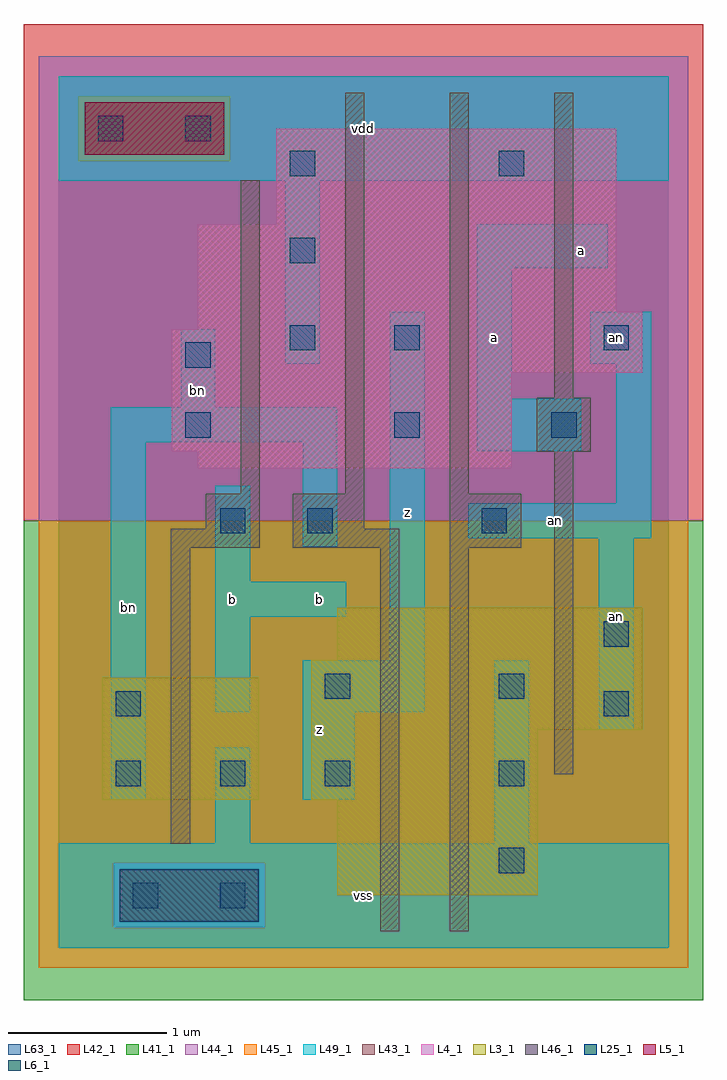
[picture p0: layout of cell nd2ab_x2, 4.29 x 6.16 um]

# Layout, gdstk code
import gdstk
lib = gdstk.Library(unit=1e-6, precision=1e-09)
def R(c, l, rs):  # rectangles x0, y0, x1, y1
    for r in rs: c.add(gdstk.rectangle(r[:2], r[2:], *l))
def A(c, l, x, y, w, h, nx, ny, dx, dy):  # array of equal rectangles
    R(c, l, [(x+i*dx, y+j*dy, x+i*dx+w, y+j*dy+h) for i in range(nx) for j in range(ny)])
L3_1 = (3, 1)
L4_1 = (4, 1)
L5_1 = (5, 1)
L6_1 = (6, 1)
L25_1 = (25, 1)
L41_1 = (41, 1)
L42_1 = (42, 1)
L43_1 = (43, 1)
L44_1 = (44, 1)
L45_1 = (45, 1)
L46_1 = (46, 1)
L49_1 = (49, 1)
L63_1 = (63, 1)

nd2ab_x2 = lib.new_cell('nd2ab_x2')
R(nd2ab_x2, L3_1, [(1.76,0.33,3.025,0.935), (0.275,0.935,1.265,1.705), (1.595,0.935,3.025,1.375), (1.595,1.375,3.685,1.815), (1.76,1.815,3.685,2.145)])
R(nd2ab_x2, L4_1, [(0.88,3.025,2.86,3.135), (0.715,3.135,2.86,3.63), (0.715,3.63,3.685,3.905), (0.88,3.905,3.685,4.015), (0.88,4.015,3.52,4.565), (1.375,4.565,3.52,5.17)])
R(nd2ab_x2, L5_1, [(0.165,5.005,1.045,5.335)])
R(nd2ab_x2, L6_1, [(0.385,0.165,1.265,0.495)])
A(nd2ab_x2, L25_1, 2.78, 0.47, 0.16, 0.16, 1, 3, 0, 0.55)
A(nd2ab_x2, L25_1, 0.36, 1.02, 0.16, 0.16, 3, 1, 0.66, 0)
A(nd2ab_x2, L25_1, 1.46, 3.77, 0.16, 0.16, 1, 3, 0, 0.55)
R(nd2ab_x2, L25_1, [(0.47,0.25,0.63,0.41), (1.02,0.25,1.18,0.41), (0.36,1.46,0.52,1.62), (3.44,1.46,3.6,1.62), (1.68,1.57,1.84,1.73), (3.44,1.9,3.6,2.06), (1.02,2.615,1.18,2.775), (1.57,2.615,1.73,2.775), (2.67,2.615,2.83,2.775), (0.8,3.22,0.96,3.38), (2.12,3.22,2.28,3.38), (3.11,3.22,3.27,3.38), (0.8,3.66,0.96,3.82), (2.12,3.77,2.28,3.93), (3.44,3.77,3.6,3.93), (2.78,4.87,2.94,5.03), (0.25,5.09,0.41,5.25), (0.8,5.09,0.96,5.25)])
R(nd2ab_x2, L41_1, [(-0.22,-0.33,4.07,2.695)])
R(nd2ab_x2, L42_1, [(-0.22,2.695,4.07,5.83)])
R(nd2ab_x2, L43_1, [(0.385,0.165,1.265,0.495), (1.76,0.33,3.025,0.935), (0.275,0.935,1.265,1.705), (1.595,0.935,3.025,1.375), (1.595,1.375,3.685,1.815), (1.76,1.815,3.685,2.145), (0.88,3.025,2.86,3.135), (0.715,3.135,2.86,3.63), (0.715,3.63,3.685,3.905), (0.88,3.905,3.685,4.015), (0.88,4.015,3.52,4.565), (1.375,4.565,3.52,5.17), (0.165,5.005,1.045,5.335)])
R(nd2ab_x2, L44_1, [(0.345,0.125,1.305,0.535), (-0.125,2.695,3.975,4.965), (-0.125,4.965,0.125,5.375), (1.085,4.965,3.975,5.375), (-0.125,5.375,3.975,5.625)])
R(nd2ab_x2, L45_1, [(-0.125,-0.125,3.975,0.125), (-0.125,0.125,0.345,0.535), (1.305,0.125,3.975,0.535), (-0.125,0.535,3.975,2.695), (0.125,4.965,1.085,5.375)])
R(nd2ab_x2, L46_1, [(2.03,0.105,2.15,2.525), (2.47,0.105,2.59,2.525), (0.71,0.655,0.83,2.525), (3.13,1.095,3.25,3.13), (0.71,2.525,1.27,2.645), (1.48,2.525,2.15,2.645), (2.47,2.525,2.92,2.865), (0.93,2.645,1.27,2.865), (1.48,2.645,1.93,2.865), (1.15,2.865,1.27,4.845), (1.81,2.865,1.93,5.395), (2.47,2.865,2.59,5.395), (3.02,3.13,3.36,3.47), (3.13,3.47,3.25,5.395)])
A(nd2ab_x2, L49_1, 0.99, 0.66, 0.22, 0.605, 1, 3, 0, 0.825)
R(nd2ab_x2, L49_1, [(0,0,3.85,0.66), (2.75,0.66,2.97,1.815), (0.33,0.935,0.55,3.19), (1.54,0.935,1.87,1.485), (3.41,1.375,3.63,2.585), (1.54,1.485,2.31,1.815), (2.09,1.815,2.31,4.015), (0.99,2.09,1.815,2.31), (1.54,2.53,1.76,3.19), (2.585,2.585,3.74,2.805), (3.52,2.805,3.74,3.685), (2.64,3.135,3.3,3.465), (0.33,3.19,1.76,3.41), (0.77,3.41,0.99,3.905), (2.64,3.465,2.86,4.29), (1.43,3.685,1.65,4.84), (3.355,3.685,3.74,4.015), (2.64,4.29,3.465,4.565), (0,4.84,3.85,5.5)])
R(nd2ab_x2, L63_1, [(0,0,3.85,5.5)])
nd2ab_x2.add(gdstk.Label('bn', (0.44,2.145), layer=49, texttype=1))
nd2ab_x2.add(gdstk.Label('z', (1.65,1.375), layer=49, texttype=1))
nd2ab_x2.add(gdstk.Label('z', (1.65,1.375), layer=49, texttype=1))
nd2ab_x2.add(gdstk.Label('b', (1.1,2.2), layer=49, texttype=1))
nd2ab_x2.add(gdstk.Label('b', (1.1,2.2), layer=49, texttype=1))
nd2ab_x2.add(gdstk.Label('b', (1.65,2.2), layer=49, texttype=1))
nd2ab_x2.add(gdstk.Label('b', (1.65,2.2), layer=49, texttype=1))
nd2ab_x2.add(gdstk.Label('bn', (0.88,3.52), layer=49, texttype=1))
nd2ab_x2.add(gdstk.Label('vss', (1.925,0.33), layer=49, texttype=1))
nd2ab_x2.add(gdstk.Label('vss', (1.925,0.33), layer=49, texttype=1))
nd2ab_x2.add(gdstk.Label('z', (2.2,2.75), layer=49, texttype=1))
nd2ab_x2.add(gdstk.Label('z', (2.2,2.75), layer=49, texttype=1))
nd2ab_x2.add(gdstk.Label('a', (2.75,3.85), layer=49, texttype=1))
nd2ab_x2.add(gdstk.Label('a', (2.75,3.85), layer=49, texttype=1))
nd2ab_x2.add(gdstk.Label('vdd', (1.925,5.17), layer=49, texttype=1))
nd2ab_x2.add(gdstk.Label('vdd', (1.925,5.17), layer=49, texttype=1))
nd2ab_x2.add(gdstk.Label('an', (3.135,2.695), layer=49, texttype=1))
nd2ab_x2.add(gdstk.Label('an', (3.52,2.09), layer=49, texttype=1))
nd2ab_x2.add(gdstk.Label('an', (3.52,3.85), layer=49, texttype=1))
nd2ab_x2.add(gdstk.Label('a', (3.3,4.4), layer=49, texttype=1))
nd2ab_x2.add(gdstk.Label('a', (3.3,4.4), layer=49, texttype=1))

lib.write_gds('nd2ab_x2.gds')
